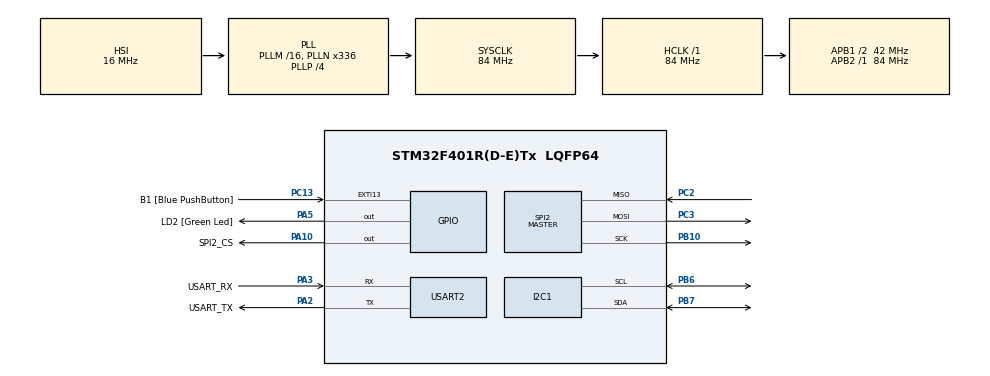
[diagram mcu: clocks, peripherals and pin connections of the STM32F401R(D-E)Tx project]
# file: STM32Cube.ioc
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Mcu.Family=STM32F4
Mcu.Name=STM32F401R(D-E)Tx
Mcu.Package=LQFP64
NVIC.I2C1_ER_IRQn=true\:0\:0\:false\:false\:true\:true\:true\:true
NVIC.I2C1_EV_IRQn=true\:0\:0\:false\:false\:true\:true\:true\:true
NVIC.PriorityGroup=NVIC_PRIORITYGROUP_0
PA10.GPIO_Label=SPI2_CS
PA10.GPIO_PuPd=GPIO_PULLUP
PA10.PinState=GPIO_PIN_SET
PA10.Signal=GPIO_Output
PA13.GPIO_Label=TMS
PA13.Mode=Serial_Wire
PA13.Signal=SYS_JTMS-SWDIO
PA14.GPIO_Label=TCK
PA14.Mode=Serial_Wire
PA14.Signal=SYS_JTCK-SWCLK
PA2.GPIO_Label=USART_TX
PA2.GPIO_Mode=GPIO_MODE_AF_PP
PA2.GPIO_PuPd=GPIO_NOPULL
PA2.GPIO_Speed=GPIO_SPEED_FREQ_LOW
PA2.Mode=Asynchronous
PA2.Signal=USART2_TX
PA3.GPIO_Label=USART_RX
PA3.GPIO_Mode=GPIO_MODE_AF_PP
PA3.GPIO_PuPd=GPIO_NOPULL
PA3.GPIO_Speed=GPIO_SPEED_FREQ_LOW
PA3.Mode=Asynchronous
PA3.Signal=USART2_RX
PA5.GPIO_Label=LD2 [Green Led]
PA5.GPIO_Mode=GPIO_MODE_OUTPUT_PP
PA5.GPIO_PuPd=GPIO_NOPULL
PA5.GPIO_Speed=GPIO_SPEED_FREQ_LOW
PA5.Signal=GPIO_Output
PB10.GPIO_PuPd=GPIO_PULLUP
PB10.Mode=Full_Duplex_Master
PB10.Signal=SPI2_SCK
PB3.GPIO_Label=SWO
PB3.Signal=SYS_JTDO-SWO
PB6.GPIO_Pu=GPIO_PULLUP
PB6.Mode=I2C
PB6.Signal=I2C1_SCL
PB7.GPIO_Pu=GPIO_PULLUP
PB7.Mode=I2C
PB7.Signal=I2C1_SDA
PC13-ANTI_TAMP.GPIO_Label=B1 [Blue PushButton]
PC13-ANTI_TAMP.GPIO_ModeDefaultEXTI=GPIO_MODE_IT_FALLING
PC13-ANTI_TAMP.GPIO_PuPd=GPIO_NOPULL
PC13-ANTI_TAMP.Signal=GPXTI13
PC14-OSC32_IN.Mode=LSE-External-Oscillator
PC14-OSC32_IN.Signal=RCC_OSC32_IN
PC15-OSC32_OUT.Mode=LSE-External-Oscillator
PC15-OSC32_OUT.Signal=RCC_OSC32_OUT
PC2.GPIO_PuPd=GPIO_PULLUP
PC2.Mode=Full_Duplex_Master
PC2.Signal=SPI2_MISO
PC3.GPIO_PuPd=GPIO_PULLUP
PC3.Mode=Full_Duplex_Master
PC3.Signal=SPI2_MOSI
PH0\ -\ OSC_IN.Mode=HSE-External-Clock-Source
PH0\ -\ OSC_IN.Signal=RCC_OSC_IN
PH1\ -\ OSC_OUT.Mode=HSE-External-Clock-Source
PH1\ -\ OSC_OUT.Signal=RCC_OSC_OUT
ProjectManager.HeapSize=0x200
ProjectManager.StackSize=0x400
ProjectManager.TargetToolchain=STM32CubeIDE
RCC.48MHZClocksFreq_Value=48000000
RCC.AHBFreq_Value=84000000
RCC.APB1CLKDivider=RCC_HCLK_DIV2
RCC.APB1Freq_Value=42000000
RCC.APB1TimFreq_Value=84000000
RCC.APB2Freq_Value=84000000
RCC.APB2TimFreq_Value=84000000
RCC.CortexFreq_Value=84000000
RCC.HCLKFreq_Value=84000000
RCC.HSE_VALUE=8000000
RCC.HSI_VALUE=16000000
RCC.PLLN=336
RCC.PLLP=RCC_PLLP_DIV4
RCC.PLLQ=7
RCC.SYSCLKFreq_VALUE=84000000
RCC.SYSCLKSource=RCC_SYSCLKSOURCE_PLLCLK
RCC.VCOOutputFreq_Value=336000000
SPI2.BaudRatePrescaler=SPI_BAUDRATEPRESCALER_256
SPI2.Direction=SPI_DIRECTION_2LINES
SPI2.Mode=SPI_MODE_MASTER
SPI2.VirtualType=VM_MASTER
TIM1.Prescaler=84
USART2.VirtualMode=VM_ASYNC
VP_FATFS_VS_Generic.Mode=User_defined
VP_TIM1_VS_ClockSourceINT.Mode=Internal
board=NUCLEO-F401RE

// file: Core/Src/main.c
/* USER CODE BEGIN Header */
/**
  ******************************************************************************
  * @file           : main.c
  * @brief          : Main program body
  ******************************************************************************
  * @attention
  *
  * Copyright (c) 2024 STMicroelectronics.
  * All rights reserved.
  *
  * This software is licensed under terms that can be found in the LICENSE file
  * in the root directory of this software component.
  * If no LICENSE file comes with this software, it is provided AS-IS.
  *
  ******************************************************************************
  */
/* USER CODE END Header */
#include "main.h"
#include "fatfs.h"
#include "i2c.h"
#include "spi.h"
#include "tim.h"
#include "usart.h"
#include "gpio.h"

/* USER CODE BEGIN Includes */
#include <stdio.h>

// RTOS Module Includes
#include "lk_kernel.h"
#include "lk_itc.h"
#include "lk_mutex.h"
#include "lk_sync.h"

// Sensor Driver Includes
#include "env_sensor.hpp"

#include "sensor_rw_demo.h"

/* USER CODE END Includes */

/* USER CODE BEGIN PM */
#define RUN_SENSOR_RW_DEMO // Un-comment to run sensor r/w demo

/* USER CODE END PM */

void SystemClock_Config(void);

/* USER CODE BEGIN PFP */
/* I/O Utilities */
INT __io_putchar(INT ch); //Transmit a character over UART

/* USER CODE END PFP */

int main(void)
{

  /* MCU Configuration--------------------------------------------------------*/

  /* Reset of all peripherals, Initializes the Flash interface and the Systick. */
  HAL_Init();

  /* Configure the system clock */
  SystemClock_Config();

  /* Initialize all configured peripherals */
  MX_GPIO_Init();
  MX_USART2_UART_Init();
  MX_I2C1_Init();
  MX_SPI2_Init();
  MX_TIM1_Init();
  MX_FATFS_Init();
  /* USER CODE BEGIN 2 */

  //Start the timer
  HAL_TIM_Base_Start(&htim1);

  /* USER CODE END 2 */

  /* Infinite loop */
  /* USER CODE BEGIN WHILE */
#ifdef RUN_SENSOR_RW_DEMO
  runSensorRWDemo(); // Concurrent read/write sensor using the RTOS demo
#endif

  while (1)
  {
    /* USER CODE END WHILE */

  }
}

void SystemClock_Config(void)
{
  RCC_OscInitTypeDef RCC_OscInitStruct = {0};
  RCC_ClkInitTypeDef RCC_ClkInitStruct = {0};

  /** Configure the main internal regulator output voltage
  */
  __HAL_RCC_PWR_CLK_ENABLE();
  __HAL_PWR_VOLTAGESCALING_CONFIG(PWR_REGULATOR_VOLTAGE_SCALE2);

  /** Initializes the RCC Oscillators according to the specified parameters
  * in the RCC_OscInitTypeDef structure.
  */
  RCC_OscInitStruct.OscillatorType = RCC_OSCILLATORTYPE_HSI;
  RCC_OscInitStruct.HSIState = RCC_HSI_ON;
  RCC_OscInitStruct.HSICalibrationValue = RCC_HSICALIBRATION_DEFAULT;
  RCC_OscInitStruct.PLL.PLLState = RCC_PLL_ON;
  RCC_OscInitStruct.PLL.PLLSource = RCC_PLLSOURCE_HSI;
  RCC_OscInitStruct.PLL.PLLM = 16;
  RCC_OscInitStruct.PLL.PLLN = 336;
  RCC_OscInitStruct.PLL.PLLP = RCC_PLLP_DIV4;
  RCC_OscInitStruct.PLL.PLLQ = 7;
  if (HAL_RCC_OscConfig(&RCC_OscInitStruct) != HAL_OK)
  {
    Error_Handler();
  }

  /** Initializes the CPU, AHB and APB buses clocks
  */
  RCC_ClkInitStruct.ClockType = RCC_CLOCKTYPE_HCLK|RCC_CLOCKTYPE_SYSCLK
                              |RCC_CLOCKTYPE_PCLK1|RCC_CLOCKTYPE_PCLK2;
  RCC_ClkInitStruct.SYSCLKSource = RCC_SYSCLKSOURCE_PLLCLK;
  RCC_ClkInitStruct.AHBCLKDivider = RCC_SYSCLK_DIV1;
  RCC_ClkInitStruct.APB1CLKDivider = RCC_HCLK_DIV2;
  RCC_ClkInitStruct.APB2CLKDivider = RCC_HCLK_DIV1;

  if (HAL_RCC_ClockConfig(&RCC_ClkInitStruct, FLASH_LATENCY_2) != HAL_OK)
  {
    Error_Handler();
  }
}

/* USER CODE BEGIN 4 */
//-----------------------------------------------------------------------
INT //Printed character
__io_putchar( //Transmits a character ofer UART
		INT ch) //Character to print
{
	//Transmit characters
	if (HAL_UART_Transmit(&huart2, (UCHAR*)&ch, 1, HAL_MAX_DELAY) != HAL_OK)
		return -1; //If transmission fail, return error code
	return ch; //Otherwise reuturn transmitted character
}

/* USER CODE END 4 */

void Error_Handler(void)
{
  __disable_irq();
  while (1)
  {
  }
}
